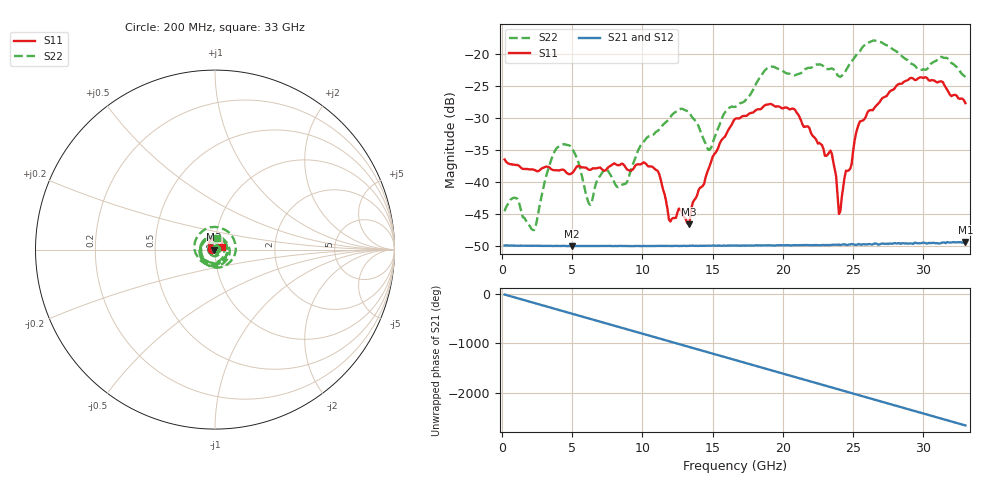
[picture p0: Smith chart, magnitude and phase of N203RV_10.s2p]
# GHZ S RI R 50
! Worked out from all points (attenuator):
!   329 points, 200 MHz to 33 GHz, reference 50 ohm
!   highest |S21| = -49.43 dB at 33 GHz (marker M1); lowest = -50.1 dB at 5 GHz (marker M2)
!   lowest |S11| = -46.7 dB at 13.3 GHz (marker M3), VSWR 1.01, Z = 49.5 + j0.00885 ohm
!   |S11| at or under -10 dB: start of sweep to end of sweep
!   |S22| runs from -47.6 to -17.9 dB; largest |S21 - S12| = 7.2e-05
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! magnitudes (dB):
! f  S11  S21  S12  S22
! 200 MHz  -36.5  -50.0  -49.9  -44.6
! 1.1 GHz  -37.4  -50.0  -50.0  -42.6
! 2.3 GHz  -38.1  -50.0  -50.0  -47.6
! 3.7 GHz  -38.2  -50.0  -50.0  -35.5
! 5 GHz  -38.7  -50.1  -50.1  -34.7
! 5.7 GHz  -37.8  -50.0  -50.0  -39.1
! 6.3 GHz  -38.2  -50.1  -50.0  -43.6
! 7.4 GHz  -38.2  -50.1  -50.1  -38.0
! 8.8 GHz  -37.7  -50.1  -50.0  -40.3
! 11.2 GHz  -38.8  -50.0  -50.0  -31.9
! 11.9 GHz  -45.9  -50.0  -50.0  -30.2
! 13.3 GHz  -46.7  -50.0  -50.0  -29.1
! 14.8 GHz  -37.5  -50.0  -50.0  -35.0
! 16.6 GHz  -30.2  -50.0  -50.0  -28.3
! 18.9 GHz  -27.9  -50.0  -49.9  -22.3
! 20.7 GHz  -28.6  -49.9  -49.9  -23.3
! 22.1 GHz  -32.8  -49.9  -49.9  -22.1
! 23.5 GHz  -35.7  -49.9  -49.8  -22.3
! 24 GHz  -45.0  -49.8  -49.9  -23.5
! 25.4 GHz  -31.0  -49.7  -49.8  -19.7
! 27.6 GHz  -25.9  -49.7  -49.7  -18.9
! 33 GHz  -27.7  -49.4  -49.4  -23.6
